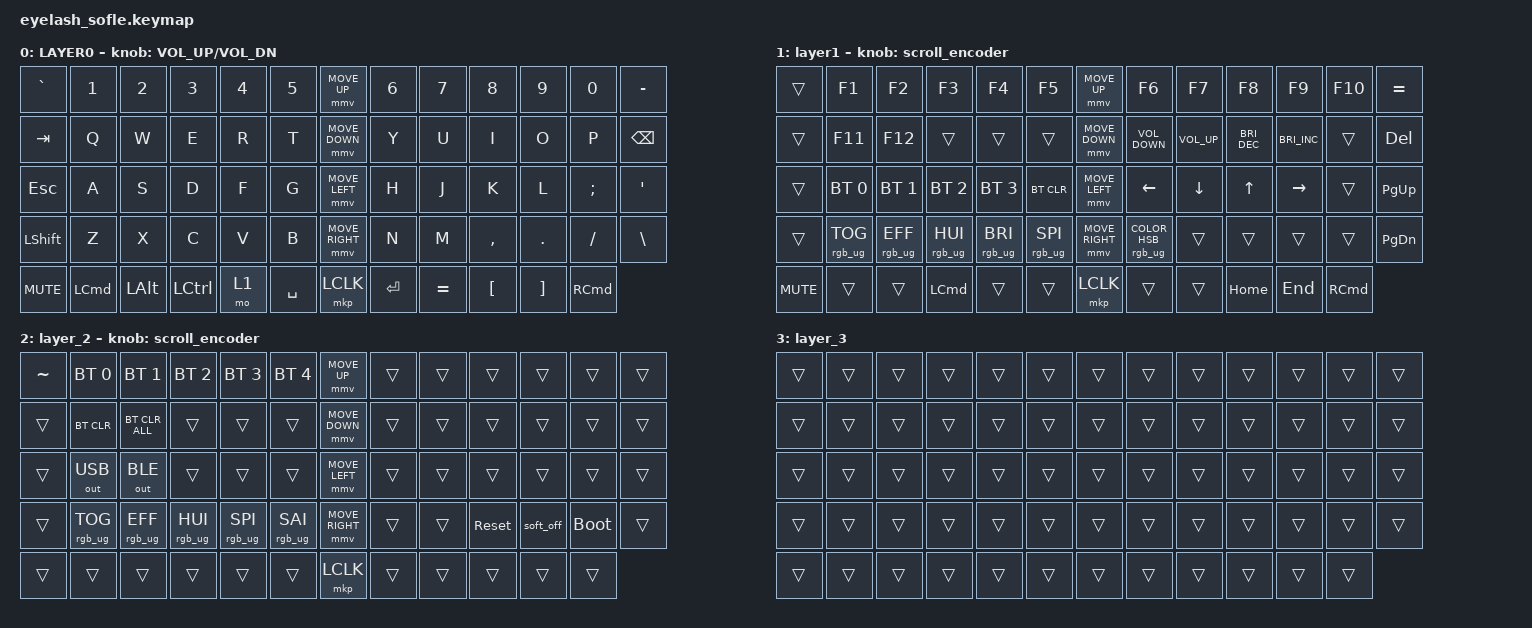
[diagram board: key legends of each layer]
#define ZMK_POINTING_DEFAULT_MOVE_VAL 1200  // 600
#define ZMK_POINTING_DEFAULT_SCRL_VAL 25   // 10

#include <input/processors.dtsi>
#include <zephyr/dt-bindings/input/input-event-codes.h>
#include <behaviors.dtsi>
#include <dt-bindings/zmk/bt.h>
#include <dt-bindings/zmk/keys.h>
#include <dt-bindings/zmk/outputs.h>
#include <dt-bindings/zmk/pointing.h>
#include <dt-bindings/zmk/rgb.h>

&mmv_input_listener { input-processors = <&zip_xy_scaler 2 1>; };

&msc_input_listener { input-processors = <&zip_scroll_scaler 2 1>; };

&msc {
    acceleration-exponent = <1>;      // 0
    time-to-max-speed-ms = <100>;       // 300
    delay-ms = <0>;                   // 0
};

&mmv {
    time-to-max-speed-ms = <500>;
    acceleration-exponent = <1>;
    trigger-period-ms = <16>;
};

/ {
    scroll_encoder: scroll_encoder {
        compatible = "zmk,behavior-sensor-rotate";
        #sensor-binding-cells = <0>;
        bindings = <&msc SCRL_DOWN>, <&msc SCRL_UP>;

        tap-ms = <100>;
    };

    behaviors {
    };

    keymap {
        compatible = "zmk,keymap";

        layer0 {
            bindings = <
&kp GRAVE   &kp N1            &kp N2        &kp N3            &kp N4  &kp N5       &mmv MOVE_UP     &kp N6     &kp N7     &kp N8            &kp N9             &kp N0             &kp MINUS
&kp TAB     &kp Q             &kp W         &kp E             &kp R   &kp T        &mmv MOVE_DOWN   &kp Y      &kp U      &kp I             &kp O              &kp P              &kp BACKSPACE
&kp ESC     &kp A             &kp S         &kp D             &kp F   &kp G        &mmv MOVE_LEFT   &kp H      &kp J      &kp K             &kp L              &kp SEMI           &kp APOS
&kp LSHFT   &kp Z             &kp X         &kp C             &kp V   &kp B        &mmv MOVE_RIGHT  &kp N      &kp M      &kp COMMA         &kp DOT            &kp FSLH           &kp BACKSLASH
&kp C_MUTE  &kp LEFT_COMMAND  &kp LEFT_ALT  &kp LEFT_CONTROL  &mo 1   &kp SPACE    &mkp LCLK        &kp ENTER  &kp EQUAL  &kp LEFT_BRACKET  &kp RIGHT_BRACKET  &kp RIGHT_COMMAND
            >;

            sensor-bindings = <&inc_dec_kp C_VOLUME_UP C_VOL_DN>;
            display-name = "LAYER0";
        };

        layer_1 {
            bindings = <
&trans      &kp F1           &kp F2           &kp F3            &kp F4           &kp F5             &mmv MOVE_UP     &kp F6                            &kp F7           &kp F8                &kp F9                &kp F10            &kp EQUAL
&trans      &kp F11          &kp F12          &trans            &trans           &trans             &mmv MOVE_DOWN   &kp K_VOLUME_DOWN                 &kp K_VOLUME_UP  &kp C_BRIGHTNESS_DEC  &kp C_BRIGHTNESS_INC  &trans             &kp DELETE
&trans      &bt BT_SEL 0     &bt BT_SEL 1     &bt BT_SEL 2      &bt BT_SEL 3     &bt BT_CLR         &mmv MOVE_LEFT   &kp LEFT_ARROW                    &kp DOWN_ARROW   &kp UP_ARROW          &kp RIGHT             &trans             &kp PAGE_UP
&trans      &rgb_ug RGB_TOG  &rgb_ug RGB_EFF  &rgb_ug RGB_HUI   &rgb_ug RGB_BRI  &rgb_ug RGB_SPI    &mmv MOVE_RIGHT  &rgb_ug RGB_COLOR_HSB(320,11,60)  &trans           &trans                &trans                &trans             &kp PAGE_DOWN
&kp C_MUTE  &trans           &trans           &kp LEFT_COMMAND  &trans           &trans             &mkp LCLK        &trans                            &trans           &kp HOME              &kp END               &kp RIGHT_COMMAND
            >;

            display-name = "layer1";
            sensor-bindings = <&scroll_encoder>;
        };

        layer_2 {
            bindings = <
&kp TILDE  &bt BT_SEL 0     &bt BT_SEL 1     &bt BT_SEL 2     &bt BT_SEL 3     &bt BT_SEL 4       &mmv MOVE_UP     &trans  &trans  &trans      &trans     &trans       &trans
&trans     &bt BT_CLR       &bt BT_CLR_ALL   &trans           &trans           &trans             &mmv MOVE_DOWN   &trans  &trans  &trans      &trans     &trans       &trans
&trans     &out OUT_USB     &out OUT_BLE     &trans           &trans           &trans             &mmv MOVE_LEFT   &trans  &trans  &trans      &trans     &trans       &trans
&trans     &rgb_ug RGB_TOG  &rgb_ug RGB_EFF  &rgb_ug RGB_HUI  &rgb_ug RGB_SPI  &rgb_ug RGB_SAI    &mmv MOVE_RIGHT  &trans  &trans  &sys_reset  &soft_off  &bootloader  &trans
&trans     &trans           &trans           &trans           &trans           &trans             &mkp LCLK        &trans  &trans  &trans      &trans     &trans
            >;

            sensor-bindings = <&scroll_encoder>;
        };

        layer_3 {
            bindings = <
&trans  &trans  &trans  &trans  &trans  &trans    &trans  &trans  &trans  &trans  &trans  &trans  &trans
&trans  &trans  &trans  &trans  &trans  &trans    &trans  &trans  &trans  &trans  &trans  &trans  &trans
&trans  &trans  &trans  &trans  &trans  &trans    &trans  &trans  &trans  &trans  &trans  &trans  &trans
&trans  &trans  &trans  &trans  &trans  &trans    &trans  &trans  &trans  &trans  &trans  &trans  &trans
&trans  &trans  &trans  &trans  &trans  &trans    &trans  &trans  &trans  &trans  &trans  &trans
            >;
        };
    };
};
